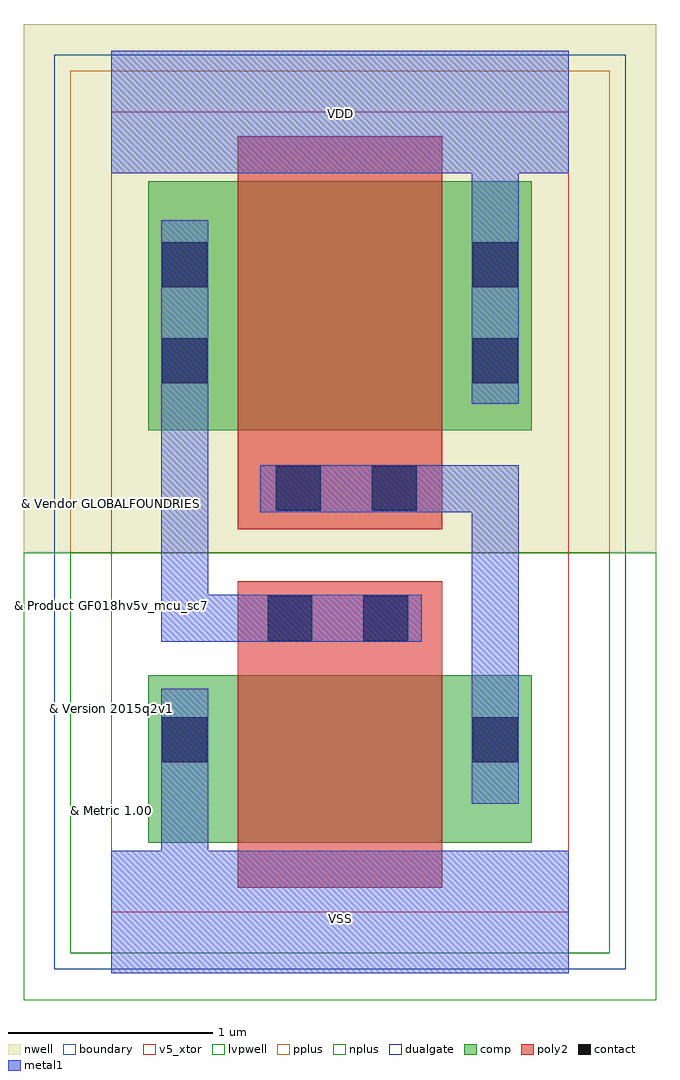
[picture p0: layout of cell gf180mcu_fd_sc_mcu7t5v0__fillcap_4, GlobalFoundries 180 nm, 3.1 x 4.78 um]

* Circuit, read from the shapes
.subckt gf180mcu_fd_sc_mcu7t5v0__fillcap_4 VDD VSS
XM1 n1 n2 VSS VSUBS nfet_05v0 w=0.82u l=1u
XM2 VDD n1 n2 n3 pfet_05v0 w=1.22u l=1u
.ends

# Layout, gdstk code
import gdstk
lib = gdstk.Library(unit=1e-6, precision=1e-09)
def R(c, l, rs):  # rectangles x0, y0, x1, y1
    for r in rs: c.add(gdstk.rectangle(r[:2], r[2:], *l))
def P(c, l, *ps):  # polygons
    for p in ps: c.add(gdstk.Polygon(p, *l))
boundary = (0, 0)
nwell = (21, 0)
comp = (22, 0)
poly2 = (30, 0)
pplus = (31, 0)
nplus = (32, 0)
contact = (33, 0)
metal1 = (34, 0)
dualgate = (55, 0)
v5_xtor = (112, 1)
lvpwell = (204, 0)

gf180mcu_fd_sc_mcu7t5v0_ = lib.new_cell('gf180mcu_fd_sc_mcu7t5v0__fillcap_4')
R(gf180mcu_fd_sc_mcu7t5v0_, boundary, [(0,0,2.24,3.92)])
R(gf180mcu_fd_sc_mcu7t5v0_, nwell, [(-0.43,1.76,2.67,4.35)])
R(gf180mcu_fd_sc_mcu7t5v0_, comp, [(0.18,0.34,2.06,1.16), (0.18,2.36,2.06,3.58)])
R(gf180mcu_fd_sc_mcu7t5v0_, poly2, [(0.62,0.12,1.62,1.62), (0.62,1.875,1.62,3.8)])
R(gf180mcu_fd_sc_mcu7t5v0_, pplus, [(-0.2,1.76,2.44,4.12)])
R(gf180mcu_fd_sc_mcu7t5v0_, nplus, [(-0.2,-0.2,2.44,1.76)])
R(gf180mcu_fd_sc_mcu7t5v0_, contact, [(0.25,0.735,0.47,0.955), (1.77,0.735,1.99,0.955), (0.765,1.33,0.985,1.55), (1.235,1.33,1.455,1.55), (0.805,1.965,1.025,2.185), (1.275,1.965,1.495,2.185), (0.25,2.59,0.47,2.81), (1.77,2.59,1.99,2.81), (0.25,3.06,0.47,3.28), (1.77,3.06,1.99,3.28)])
P(gf180mcu_fd_sc_mcu7t5v0_, metal1, [(0.245,1.325),(0.245,3.39),(0.475,3.39),(0.475,1.555),(1.52,1.555),(1.52,1.325)],
  [(1.765,0.53),(1.765,1.96),(0.73,1.96),(0.73,2.19),(1.995,2.19),(1.995,0.53)],
  [(0,-0.3),(0,0.3),(0.245,0.3),(0.245,1.095),(0.475,1.095),(0.475,0.3),(2.24,0.3),(2.24,-0.3)],
  [(1.765,2.49),(1.765,3.62),(0,3.62),(0,4.22),(2.24,4.22),(2.24,3.62),(1.995,3.62),(1.995,2.49)])
R(gf180mcu_fd_sc_mcu7t5v0_, dualgate, [(-0.28,-0.28,2.52,4.2)])
R(gf180mcu_fd_sc_mcu7t5v0_, v5_xtor, [(0,0,2.24,3.92)])
R(gf180mcu_fd_sc_mcu7t5v0_, lvpwell, [(-0.43,-0.43,2.67,1.76)])
gf180mcu_fd_sc_mcu7t5v0_.add(gdstk.Label('VDD', (1.12,3.91), layer=34, texttype=10))
gf180mcu_fd_sc_mcu7t5v0_.add(gdstk.Label('VSS', (1.12,-0.03), layer=34, texttype=10))
gf180mcu_fd_sc_mcu7t5v0_.add(gdstk.Label('& Vendor GLOBALFOUNDRIES', (0,2), layer=63, texttype=63))
gf180mcu_fd_sc_mcu7t5v0_.add(gdstk.Label('& Product GF018hv5v_mcu_sc7', (0,1.5), layer=63, texttype=63))
gf180mcu_fd_sc_mcu7t5v0_.add(gdstk.Label('& Version 2015q2v1', (0,1), layer=63, texttype=63))
gf180mcu_fd_sc_mcu7t5v0_.add(gdstk.Label('& Metric 1.00', (0,0.5), layer=63, texttype=63))

lib.write_gds('gf180mcu_fd_sc_mcu7t5v0__fillcap_4.gds')
